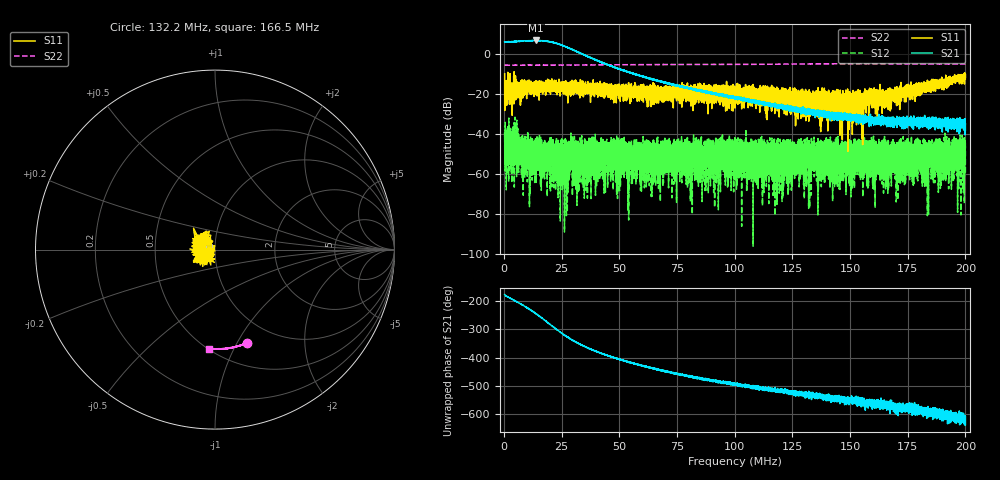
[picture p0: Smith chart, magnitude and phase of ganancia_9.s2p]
# Hz S DB R 50
! CMT, M5065, 19127446, 24.2.4/2
! Date: 11/8/2024 3:49:47 PM
! Data: Format (Calibration Info)
! Freq	S11:dB/Ang(F2)	S21:dB/Ang(F2)	S12:dB/Ang(F2)	S22:dB/Ang(F2)
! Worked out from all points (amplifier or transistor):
!   9000 points, 300 kHz to 200 MHz, reference 50 ohm
!   highest |S21| = 6.5 dB at 13.9 MHz (marker M1)
!   |S21| within 3 dB of that: start of sweep to 26.51 MHz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
!   unconditionally stable (mu >= 1): start of sweep to end of sweep
!   at 33.59 MHz: K = 216.85, MAG = 1.4 dB, |S12| = -55.6 dB
!   at 100.2 MHz: K = 1634.49, MAG = -20.6 dB, |S12| = -51.1 dB
!   at 200 MHz: K = 18505.87, MAG = -33.5 dB, |S12| = -59.6 dB
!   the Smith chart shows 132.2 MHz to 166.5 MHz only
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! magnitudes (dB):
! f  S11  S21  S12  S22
! 300 kHz  -10.2  5.8  -41.6  -5.9
! 1.321 MHz  -20.6  5.9  -44.5  -5.9
! 13.9 MHz  -14.5  6.5  -46.3  -5.8
! 16.61 MHz  -17.2  6.4  -51.4  -5.8
! 23.4 MHz  -16.3  4.8  -54.6  -5.8
! 26.89 MHz  -17.9  3.3  -52.2  -5.8
! 28.86 MHz  -16.2  2.4  -46.0  -5.8
! 31.81 MHz  -17.8  0.9  -50.1  -5.7
! 33.59 MHz  -15.3  -0.1  -55.6  -5.7
! 66.87 MHz  -17.4  -13.5  -58.4  -5.5
! 100.2 MHz  -20.1  -22.1  -51.1  -5.4
! 133.4 MHz  -23.4  -30.0  -50.0  -5.2
! 154.6 MHz  -21.0  -31.2  -54.7  -5.1
! 157 MHz  -24.3  -33.0  -51.1  -5.1
! 166.7 MHz  -22.0  -34.3  -51.5  -5.1
! 179.1 MHz  -18.8  -34.1  -50.8  -5.2
! 181.1 MHz  -19.2  -34.8  -52.1  -5.2
! 185 MHz  -13.8  -36.3  -52.8  -5.3
! 188.6 MHz  -16.5  -36.4  -53.0  -5.3
! 198.2 MHz  -12.1  -33.3  -54.0  -5.3
! 199.1 MHz  -12.1  -34.6  -48.3  -5.3
! 200 MHz  -12.6  -35.3  -59.6  -5.3
